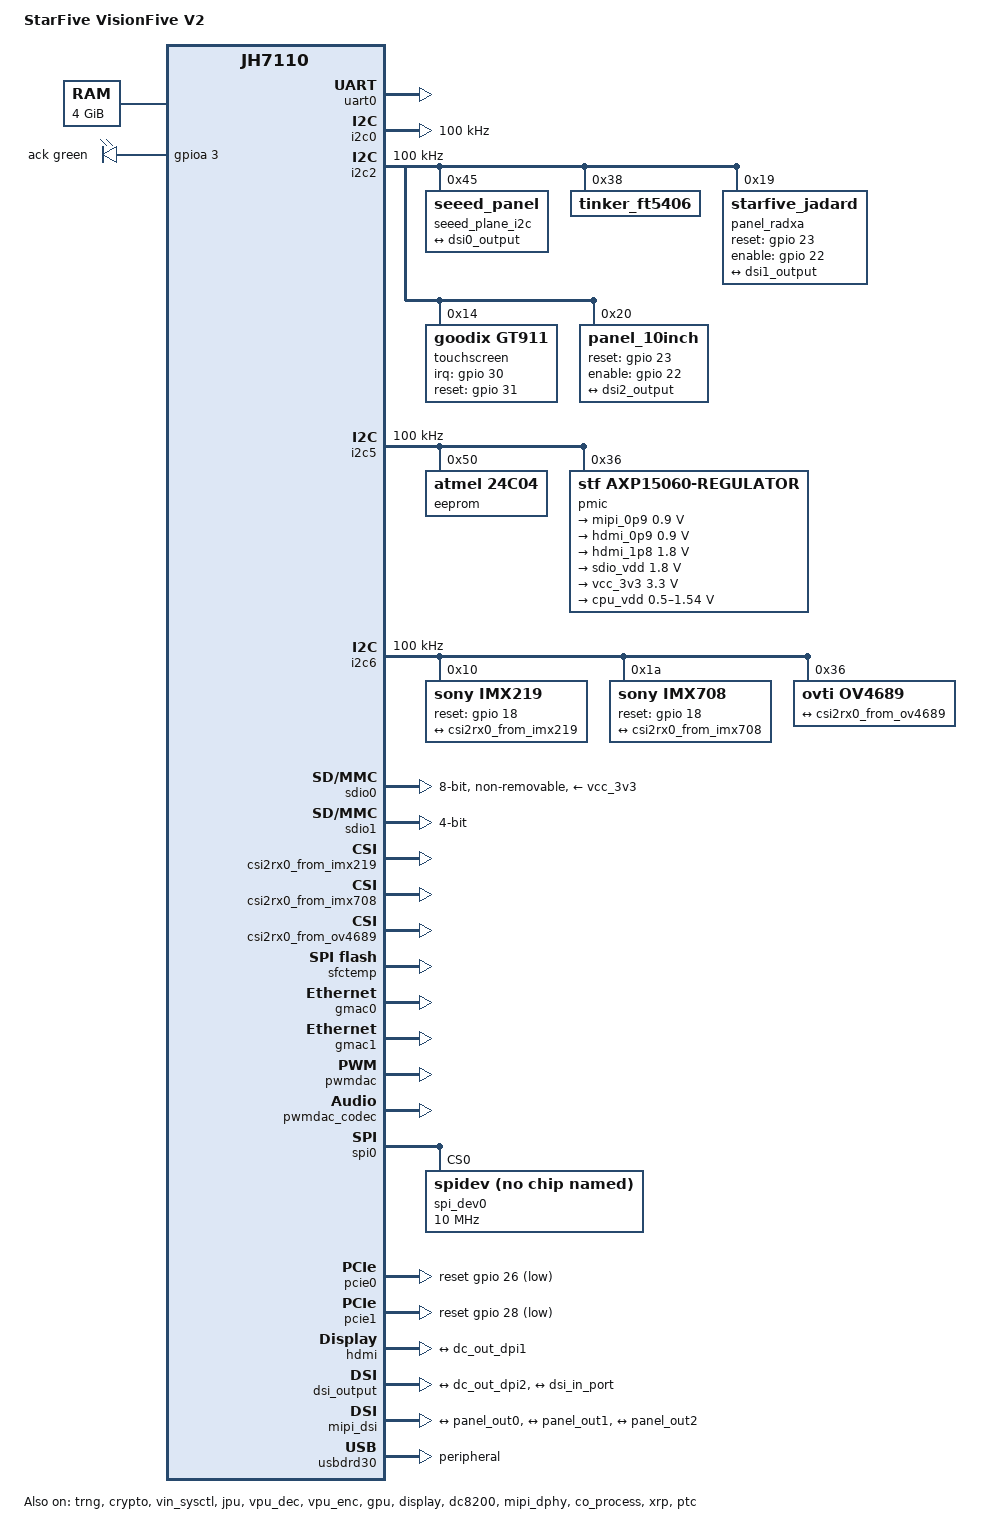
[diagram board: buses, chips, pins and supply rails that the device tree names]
// SPDX-License-Identifier: GPL-2.0 OR MIT
/*
 * Copyright (C) 2022 StarFive Technology Co., Ltd.
 * Copyright (C) 2022 Hal Feng <hal.feng@starfivetech.com>
 */

/dts-v1/;
#include <dt-bindings/gpio/gpio.h>
#include <dt-bindings/leds/common.h>
#include <dt-bindings/pinctrl/starfive,jh7110-pinfunc.h>
#include "jh7110.dtsi"
#include "codecs/sf_pwmdac.dtsi"

/ {
	model = "StarFive VisionFive V2";
	compatible = "starfive,visionfive-v2", "starfive,jh7110";

	aliases {
		spi0 = &qspi;
		gpio0 = &gpio;
		ethernet0 = &gmac0;
		ethernet1 = &gmac1;
		mmc0 = &sdio0;
		mmc1 = &sdio1;
		serial0 = &uart0;
		serial3 = &uart3;
		i2c0 = &i2c0;
		i2c1 = &i2c1;
		i2c2 = &i2c2;
		i2c3 = &i2c3;
		i2c4 = &i2c4;
		i2c5 = &i2c5;
		i2c6 = &i2c6;
	};

	chosen {
		linux,initrd-start = <0x0 0x46100000>;
		linux,initrd-end = <0x0 0x4c000000>;
		stdout-path = "serial0:115200";
		#bootargs = "debug console=ttyS0 rootwait";
	};

	cpus {
		timebase-frequency = <4000000>;
	};

	memory@40000000 {
		device_type = "memory";
		reg = <0x0 0x40000000 0x1 0x0>;
	};

	reserved-memory {
		#address-cells = <2>;
		#size-cells = <2>;
		ranges;

		linux,cma {
			compatible = "shared-dma-pool";
			reusable;
			size = <0x0 0x20000000>;
			alignment = <0x0 0x1000>;
			alloc-ranges = <0x0 0x70000000 0x0 0x20000000>;
			linux,cma-default;
		};

		e24_mem: e24@c0000000 {
			no-map;
			reg = <0x0 0xc0110000 0x0 0xf0000>;
		};

		xrp_reserved: xrpbuffer@f0000000 {
			reg = <0x0 0xf0000000 0x0 0x01ffffff
				0x0 0xf2000000 0x0 0x00001000
				0x0 0xf2001000 0x0 0x00fff000
				0x0 0xf3000000 0x0 0x00001000>;
		};

	};

	leds {
		compatible = "gpio-leds";

		led-ack {
			gpios = <&gpioa 3 GPIO_ACTIVE_HIGH>;
			color = <LED_COLOR_ID_GREEN>;
			function = LED_FUNCTION_HEARTBEAT;
			linux,default-trigger = "heartbeat";
			label = "ack";
		};
	};
};

&gpio {
	i2c0_pins: i2c0-pins {
		i2c0-pins-scl {
			starfive,pins = <PAD_GPIO57>;
			starfive,pinmux = <PAD_GPIO57_FUNC_SEL 0>;
			starfive,pin-ioconfig = <IO(GPIO_IE(1) | (GPIO_PU(1)))>;
			starfive,pin-gpio-dout = <GPO_LOW>;
			starfive,pin-gpio-doen = <OEN_I2C0_IC_CLK_OE>;
			starfive,pin-gpio-din =  <GPI_I2C0_IC_CLK_IN_A>;
		};

		i2c0-pins-sda {
			starfive,pins = <PAD_GPIO58>;
			starfive,pinmux = <PAD_GPIO58_FUNC_SEL 0>;
			starfive,pin-ioconfig = <IO(GPIO_IE(1) | (GPIO_PU(1)))>;
			starfive,pin-gpio-dout = <GPO_LOW>;
			starfive,pin-gpio-doen = <OEN_I2C0_IC_DATA_OE>;
			starfive,pin-gpio-din =  <GPI_I2C0_IC_DATA_IN_A>;
		};
	};

	i2c5_pins: i2c5-pins {
		i2c5-pins-scl {
			starfive,pins = <PAD_GPIO19>;
			starfive,pinmux = <PAD_GPIO19_FUNC_SEL 0>;
			starfive,pin-ioconfig = <IO(GPIO_IE(1) | (GPIO_PU(1)))>;
			starfive,pin-gpio-dout = <GPO_LOW>;
			starfive,pin-gpio-doen = <OEN_I2C5_IC_CLK_OE>;
			starfive,pin-gpio-din =  <GPI_I2C5_IC_CLK_IN_A>;
		};

		i2c5-pins-sda {
			starfive,pins = <PAD_GPIO20>;
			starfive,pinmux = <PAD_GPIO20_FUNC_SEL 0>;
			starfive,pin-ioconfig = <IO(GPIO_IE(1) | (GPIO_PU(1)))>;
			starfive,pin-gpio-dout = <GPO_LOW>;
			starfive,pin-gpio-doen = <OEN_I2C5_IC_DATA_OE>;
			starfive,pin-gpio-din =  <GPI_I2C5_IC_DATA_IN_A>;
		};
	};

	i2c6_pins: i2c6-pins {
		i2c6-pins-scl {
			starfive,pins = <PAD_GPIO16>;
			starfive,pinmux = <PAD_GPIO16_FUNC_SEL 0>;
			starfive,pin-ioconfig = <IO(GPIO_IE(1) | (GPIO_PU(1)))>;
			starfive,pin-gpio-dout = <GPO_LOW>;
			starfive,pin-gpio-doen = <OEN_I2C6_IC_CLK_OE>;
			starfive,pin-gpio-din =  <GPI_I2C6_IC_CLK_IN_A>;
		};

		i2c6-pins-sda {
			starfive,pins = <PAD_GPIO17>;
			starfive,pinmux = <PAD_GPIO17_FUNC_SEL 0>;
			starfive,pin-ioconfig = <IO(GPIO_IE(1) | (GPIO_PU(1)))>;
			starfive,pin-gpio-dout = <GPO_LOW>;
			starfive,pin-gpio-doen = <OEN_I2C6_IC_DATA_OE>;
			starfive,pin-gpio-din =  <GPI_I2C6_IC_DATA_IN_A>;
		};
	};

	pwmdac0_pins: pwmdac0-pins {
		pwmdac0-pins-left {
			starfive,pins = <PAD_GPIO33>;
			starfive,pinmux = <PAD_GPIO33_FUNC_SEL 0>;
			starfive,pin-ioconfig = <IO(GPIO_IE(1) | (GPIO_PU(1)))>;
			starfive,pin-gpio-dout = <GPO_PWMDAC0_LEFT_OUTPUT>;
			starfive,pin-gpio-doen = <OEN_LOW>;
		};

		pwmdac0-pins-right {
			starfive,pins = <PAD_GPIO34>;
			starfive,pinmux = <PAD_GPIO34_FUNC_SEL 0>;
			starfive,pin-ioconfig = <IO(GPIO_IE(1) | (GPIO_PU(1)))>;
			starfive,pin-gpio-dout = <GPO_PWMDAC0_RIGHT_OUTPUT>;
			starfive,pin-gpio-doen = <OEN_LOW>;
		};
	};

	pwm_pins: pwm-pins {
		pwm_ch0-pins {
			starfive,pins = <PAD_GPIO46>;
			starfive,pinmux = <PAD_GPIO46_FUNC_SEL 0>;
			starfive,pin-ioconfig = <IO(GPIO_IE(1))>;
			starfive,pin-gpio-dout = <GPO_PTC0_PWM_0>;
			starfive,pin-gpio-doen = <OEN_PTC0_PWM_0_OE_N>;
		};

		pwm_ch1-pins {
			starfive,pins = <PAD_GPIO59>;
			starfive,pinmux = <PAD_GPIO59_FUNC_SEL 0>;
			starfive,pin-ioconfig = <IO(GPIO_IE(1))>;
			starfive,pin-gpio-dout = <GPO_PTC0_PWM_1>;
			starfive,pin-gpio-doen = <OEN_PTC0_PWM_1_OE_N>;
		};
	};

	ssp0_pins: ssp0-pins {
		ssp0-pins_tx {
			starfive,pins = <PAD_GPIO52>;
			starfive,pinmux = <PAD_GPIO52_FUNC_SEL 0>;
			starfive,pin-ioconfig = <IO(GPIO_IE(1))>;
			starfive,pin-gpio-dout = <GPO_SPI0_SSPTXD>;
			starfive,pin-gpio-doen = <OEN_LOW>;
		};

		ssp0-pins_rx {
			starfive,pins = <PAD_GPIO53>;
			starfive,pinmux = <PAD_GPIO53_FUNC_SEL 0>;
			starfive,pin-ioconfig = <IO(GPIO_IE(1))>;
			starfive,pin-gpio-doen = <OEN_HIGH>;
			starfive,pin-gpio-din =  <GPI_SPI0_SSPRXD>;
		};

		ssp0-pins_clk {
			starfive,pins = <PAD_GPIO48>;
			starfive,pinmux = <PAD_GPIO48_FUNC_SEL 0>;
			starfive,pin-ioconfig = <IO(GPIO_IE(1))>;
			starfive,pin-gpio-dout = <GPO_SPI0_SSPCLKOUT>;
			starfive,pin-gpio-doen = <OEN_LOW>;
		};

		ssp0-pins_cs {
			starfive,pins = <PAD_GPIO49>;
			starfive,pinmux = <PAD_GPIO49_FUNC_SEL 0>;
			starfive,pin-ioconfig = <IO(GPIO_IE(1))>;
			starfive,pin-gpio-dout = <GPO_SPI0_SSPFSSOUT>;
			starfive,pin-gpio-doen = <OEN_LOW>;
		};
	};

	pcie0_perst_default: pcie0_perst_default {
		perst-pins {
			starfive,pins = <PAD_GPIO26>;
			starfive,pinmux = <PAD_GPIO26_FUNC_SEL 0>;
			starfive,pin-ioconfig = <IO(GPIO_IE(1))>;
			starfive,pin-gpio-dout = <GPO_HIGH>;
			starfive,pin-gpio-doen = <OEN_LOW>;
		};
	};

	pcie0_perst_active: pcie0_perst_active {
		perst-pins {
			starfive,pins = <PAD_GPIO26>;
			starfive,pinmux = <PAD_GPIO26_FUNC_SEL 0>;
			starfive,pin-ioconfig = <IO(GPIO_IE(1))>;
			starfive,pin-gpio-dout = <GPO_LOW>;
			starfive,pin-gpio-doen = <OEN_LOW>;
		};
	};

	pcie0_wake_default: pcie0_wake_default {
		wake-pins {
			starfive,pins = <PAD_GPIO32>;
			starfive,pinmux = <PAD_GPIO32_FUNC_SEL 0>;
			starfive,pin-ioconfig = <IO(GPIO_IE(1))>;
			starfive,pin-gpio-doen = <OEN_HIGH>;
		};
	};

	pcie0_clkreq_default: pcie0_clkreq_default {
		clkreq-pins {
			starfive,pins = <PAD_GPIO27>;
			starfive,pinmux = <PAD_GPIO27_FUNC_SEL 0>;
			starfive,pin-ioconfig = <IO(GPIO_IE(1))>;
			starfive,pin-gpio-doen = <OEN_HIGH>;
		};
	};

	pcie1_perst_default: pcie1_perst_default {
		perst-pins {
			starfive,pins = <PAD_GPIO28>;
			starfive,pinmux = <PAD_GPIO28_FUNC_SEL 0>;
			starfive,pin-ioconfig = <IO(GPIO_IE(1))>;
			starfive,pin-gpio-dout = <GPO_HIGH>;
			starfive,pin-gpio-doen = <OEN_LOW>;
		};
	};

	pcie1_perst_active: pcie1_perst_active {
		perst-pins {
			starfive,pins = <PAD_GPIO28>;
			starfive,pinmux = <PAD_GPIO28_FUNC_SEL 0>;
			starfive,pin-ioconfig = <IO(GPIO_IE(1))>;
			starfive,pin-gpio-dout = <GPO_LOW>;
			starfive,pin-gpio-doen = <OEN_LOW>;
		};
	};

	pcie1_wake_default: pcie1_wake_default {
		wake-pins {
			starfive,pins = <PAD_GPIO21>;
			starfive,pinmux = <PAD_GPIO21_FUNC_SEL 0>;
			starfive,pin-ioconfig = <IO(GPIO_IE(1))>;
			starfive,pin-gpio-doen = <OEN_HIGH>;
		};
	};

	pcie1_clkreq_default: pcie1_clkreq_default {
		clkreq-pins {
			starfive,pins = <PAD_GPIO29>;
			starfive,pinmux = <PAD_GPIO29_FUNC_SEL 0>;
			starfive,pin-ioconfig = <IO(GPIO_IE(1))>;
			starfive,pin-gpio-doen = <OEN_HIGH>;
		};
	};

	usb_pins: usb-pins {
		drive-vbus-pin {
			starfive,pins = <PAD_GPIO25>;
			starfive,pinmux = <PAD_GPIO25_FUNC_SEL 0>;
			starfive,pin-ioconfig = <IO(GPIO_IE(1))>;
			starfive,pin-gpio-dout = <GPO_USB0_DRIVE_VBUS_IO>;
			starfive,pin-gpio-doen = <OEN_LOW>;
		};
	};

	i2srx_pins: i2srx-pins {
		i2srx-pins0 {
			starfive,pins = <PAD_GPIO61>;
			starfive,pinmux = <PAD_GPIO61_FUNC_SEL 0>;
			starfive,pin-ioconfig = <IO(GPIO_IE(1))>;
			starfive,pin-gpio-doen = <OEN_HIGH>;
			starfive,pin-gpio-din =  <GPI_I2SRX0_EXT_SDIN0>;
		};
	};

	i2s_clk_pins: i2s-clk0 {
		i2s-clk0_bclk {
			starfive,pins = <PAD_GPIO38>;
			starfive,pinmux = <PAD_GPIO38_FUNC_SEL 0>;
			starfive,pin-ioconfig = <IO(GPIO_IE(1))>;
			starfive,pin-gpio-din = <GPI_I2STX0_BCLK_SLV GPI_I2SRX0_BCLK_SLV>;
			starfive,pin-gpio-doen = <OEN_HIGH>;
		};

		i2s-clk0_lrclk {
			starfive,pins = <PAD_GPIO63>;
			starfive,pinmux = <PAD_GPIO63_FUNC_SEL 0>;
			starfive,pin-ioconfig = <IO(GPIO_IE(1))>;
			starfive,pin-gpio-din = <GPI_I2STX0_LRCK_SLV GPI_I2SRX0_LRCK_SLV>;
			starfive,pin-gpio-doen = <OEN_HIGH>;
		};
	};

	i2stx_pins: i2stx-pins {
		i2stx-pins0 {
			starfive,pins = <PAD_GPIO44>;
			starfive,pinmux = <PAD_GPIO44_FUNC_SEL 0>;
			starfive,pin-ioconfig = <IO(GPIO_IE(1))>;
			starfive,pin-gpio-dout = <GPO_I2STX_4CH1_SDO0>;
			starfive,pin-gpio-doen = <OEN_LOW>;
		};
	};
};

&uart0 {
	status = "okay";
};

&dma {
	status = "okay";
};

&trng {
	status = "okay";
};

&crypto {
	status = "okay";
};

&sec_dma {
	status = "okay";
};

&i2c0 {
	clock-frequency = <100000>;
	i2c-sda-hold-time-ns = <300>;
	i2c-sda-falling-time-ns = <510>;
	i2c-scl-falling-time-ns = <510>;
	auto_calc_scl_lhcnt;
	pinctrl-names = "default";
	pinctrl-0 = <&i2c0_pins>;
	status = "okay";
};

&i2c2 {
	clock-frequency = <100000>;
	i2c-sda-hold-time-ns = <300>;
	i2c-sda-falling-time-ns = <510>;
	i2c-scl-falling-time-ns = <510>;
	auto_calc_scl_lhcnt;
	status = "okay";

	seeed_plane_i2c@45 {
		compatible = "seeed_panel";
		reg = <0x45>;

		port {
			panel_out0: endpoint {
				remote-endpoint = <&dsi0_output>;
			};
		};
	};

	tinker_ft5406: tinker_ft5406@38 {
		compatible = "tinker_ft5406";
		reg = <0x38>;
	};

	panel_radxa@19 {
		compatible ="starfive_jadard";
		reg = <0x19>;
		reset-gpio = <&gpio 23 0>;
		enable-gpio = <&gpio 22 0>;

		port {
			panel_out1: endpoint {
				remote-endpoint = <&dsi1_output>;
				};
		};
	};

	touchscreen@14 {
		compatible = "goodix,gt911";
		reg = <0x14>;
		irq-gpios = <&gpio 30 GPIO_ACTIVE_HIGH>;
		reset-gpios = <&gpio 31 GPIO_ACTIVE_HIGH>;
	};


	panel_10inch@20 {
		compatible ="panel_10inch";
		reg = <0x20>;
		reset-gpio = <&gpio 23 0>;
		enable-gpio = <&gpio 22 0>;

		port {
			panel_out2: endpoint {
				remote-endpoint = <&dsi2_output>;
			};
		};
	};
};

&i2c5 {
	clock-frequency = <100000>;
	i2c-sda-hold-time-ns = <300>;
	i2c-sda-falling-time-ns = <510>;
	i2c-scl-falling-time-ns = <510>;
	auto_calc_scl_lhcnt;
	pinctrl-names = "default";
	pinctrl-0 = <&i2c5_pins>;
	status = "okay";

	eeprom@50 {
		compatible = "atmel,24c04";
		reg = <0x50>;
		pagesize = <16>;
	};

	pmic: axp15060_reg@36 {
		compatible = "stf,axp15060-regulator";
		reg = <0x36>;

		regulators {
			mipi_0p9: ALDO1 {
				regulator-boot-on;
				regulator-compatible = "mipi_0p9";
				regulator-name = "mipi_0p9";
				regulator-min-microvolt = <900000>;
				regulator-max-microvolt = <900000>;
			};
			hdmi_0p9: ALDO5 {
				regulator-boot-on;
				regulator-compatible = "hdmi_0p9";
				regulator-name = "hdmi_0p9";
				regulator-min-microvolt = <900000>;
				regulator-max-microvolt = <900000>;
			};
			hdmi_1p8: ALDO3 {
				regulator-boot-on;
				regulator-compatible = "hdmi_1p8";
				regulator-name = "hdmi_1p8";
				regulator-min-microvolt = <1800000>;
				regulator-max-microvolt = <1800000>;
			};
			sdio_vdd: ALDO4 {
				regulator-boot-on;
				regulator-always-on;
				regulator-compatible = "sdio_vdd";
				regulator-name = "sdio_vdd";
				regulator-min-microvolt = <1800000>;
				regulator-max-microvolt = <1800000>;
			};
			vcc_3v3: DCDC1 {
				regulator-boot-on;
				regulator-always-on;
				regulator-compatible = "vcc_3v3";
				regulator-name = "vcc_3v3";
				regulator-min-microvolt = <3300000>;
				regulator-max-microvolt = <3300000>;
			};
			cpu_vdd: DCDC2 {
				regulator-boot-on;
				regulator-always-on;
				regulator-compatible = "cpu_vdd";
				regulator-name = "cpu_vdd";
				regulator-min-microvolt = <500000>;
				regulator-max-microvolt = <1540000>;
			};
		};
	};
};

&i2c6 {
	clock-frequency = <100000>;
	i2c-sda-hold-time-ns = <300>;
	i2c-sda-falling-time-ns = <510>;
	i2c-scl-falling-time-ns = <510>;
	auto_calc_scl_lhcnt;
	pinctrl-names = "default";
	pinctrl-0 = <&i2c6_pins>;
	status = "okay";

	imx219: imx219@10 {
		compatible = "sony,imx219";
		reg = <0x10>;
		clocks = <&clk_ext_camera>;
		clock-names = "xclk";
		reset-gpio = <&gpio 18 0>;
		//DOVDD-supply = <&v2v8>;
		rotation = <0>;
		orientation = <1>; //CAMERA_ORIENTATION_BACK

		port {
			/* CSI2 bus endpoint */
			imx219_to_csi2rx0: endpoint {
				remote-endpoint = <&csi2rx0_from_imx219>;
				bus-type = <4>;      /* MIPI CSI-2 D-PHY */
				clock-lanes = <4>;
				data-lanes = <0 1>;
				lane-polarities = <0 0 0>;
				link-frequencies = /bits/ 64 <456000000>;
			};
		};
	};

	imx708: imx708@1a {
		compatible = "sony,imx708";
		reg = <0x1a>;
		clocks = <&clk_ext_camera>;
		reset-gpio = <&gpio 18 0>;

		port {
			imx708_to_csi2rx0: endpoint {
				remote-endpoint = <&csi2rx0_from_imx708>;
				data-lanes = <1 2>;
				clock-noncontinuous;
				link-frequencies = /bits/ 64 <450000000>;
			};
		};
	};

	ov4689: ov4689@36 {
		compatible = "ovti,ov4689";
		reg = <0x36>;
		clocks = <&clk_ext_camera>;
		clock-names = "xclk";
		//reset-gpio = <&gpio 18 0>;
		rotation = <180>;

		port {
			/* Parallel bus endpoint */
			ov4689_to_csi2rx0: endpoint {
				remote-endpoint = <&csi2rx0_from_ov4689>;
				bus-type = <4>;		/* MIPI CSI-2 D-PHY */
				clock-lanes = <0>;
				data-lanes = <1 2>;
			};
		};
	};
};

&sdio0 {
	max-frequency = <100000000>;
	card-detect-delay = <300>;
	bus-width = <8>;
	cap-mmc-highspeed;
	non-removable;
	cap-mmc-hw-reset;
	post-power-on-delay-ms = <200>;
	vmmc-supply = <&vcc_3v3>;
	vqmmc-supply = <&sdio_vdd>;
	status = "okay";
};

&sdio1 {
	max-frequency = <100000000>;
	card-detect-delay = <300>;
	bus-width = <4>;
	no-sdio;
	no-mmc;
	broken-cd;
	cap-sd-highspeed;
	post-power-on-delay-ms = <200>;
	status = "okay";
};

&vin_sysctl {
	/* when use dvp open this pinctrl*/
	status = "okay";

	ports {
		#address-cells = <1>;
		#size-cells = <0>;

		port@1 {
			reg = <1>;
			#address-cells = <1>;
			#size-cells = <0>;

			/* CSI2 bus endpoint */
			csi2rx0_from_imx219: endpoint@0 {
				reg = <0>;
				remote-endpoint = <&imx219_to_csi2rx0>;
				bus-type = <4>;      /* MIPI CSI-2 D-PHY */
				clock-lanes = <4>;
				data-lanes = <0 1>;
				lane-polarities = <0 0 0>;
				status = "okay";
			};

			csi2rx0_from_imx708: endpoint@1 {
				reg = <1>;
				remote-endpoint = <&imx708_to_csi2rx0>;
				bus-type = <4>;      /* MIPI CSI-2 D-PHY */
				clock-lanes = <4>;
				data-lanes = <0 1>;
				lane-polarities = <0 0 0>;
				status = "okay";
			};

			csi2rx0_from_ov4689: endpoint@2 {
				reg = <2>;
				remote-endpoint = <&ov4689_to_csi2rx0>;
				bus-type = <4>;      /* MIPI CSI-2 D-PHY */
				clock-lanes = <4>;
				data-lanes = <0 1>;
				status = "okay";
			};
		};
	};
};

&sfctemp {
	status = "okay";
};

&jpu {
	status = "okay";
};

&vpu_dec {
	status = "okay";
};

&vpu_enc {
	status = "okay";
};

&gmac0 {
	status = "okay";
	#address-cells = <1>;
	#size-cells = <0>;
	phy0: ethernet-phy@0 {
		rgmii_sw_dr_2 = <0x0>;
		rgmii_sw_dr = <0x3>;
		rgmii_sw_dr_rxc = <0x6>;
		rxc_dly_en = <0>;
		rx_delay_sel = <0xa>;
		tx_delay_sel_fe = <5>;
		tx_delay_sel = <0xa>;
		tx_inverted_10 = <0x1>;
		tx_inverted_100 = <0x1>;
		tx_inverted_1000 = <0x1>;
	};
};

&gmac1 {
	#address-cells = <1>;
	#size-cells = <0>;
	status = "okay";
	phy1: ethernet-phy@1 {
		rgmii_sw_dr_2 = <0x0>;
		rgmii_sw_dr = <0x3>;
		rgmii_sw_dr_rxc = <0x6>;
		tx_delay_sel_fe = <5>;
		tx_delay_sel = <0>;
		rxc_dly_en = <0>;
		rx_delay_sel = <0x2>;
		tx_inverted_10 = <0x1>;
		tx_inverted_100 = <0x1>;
		tx_inverted_1000 = <0x0>;
	};
};

&gpu {
	status = "okay";
};

&pwmdac {
	pinctrl-names = "default";
	pinctrl-0 = <&pwmdac0_pins>;
	status = "okay";
};

&i2srx_3ch {
	pinctrl-names = "default";
	pinctrl-0 = <&i2s_clk_pins &i2srx_pins>;
	status = "disabled";
};

&i2stx_4ch1 {
	pinctrl-names = "default";
	pinctrl-0 = <&i2stx_pins>;
	status = "disabled";
};

&pwmdac_codec {
	status = "okay";
};

&spi0 {
	pinctrl-names = "default";
	pinctrl-0 = <&ssp0_pins>;
	status = "okay";

	spi_dev0: spi@0 {
		compatible = "rohm,dh2228fv";
		pl022,com-mode = <1>;
		spi-max-frequency = <10000000>;
		reg = <0>;
		status = "okay";
	};
};

&pcie0 {
	pinctrl-names = "default";
	pinctrl-0 = <&pcie0_wake_default>,
		    <&pcie0_clkreq_default>;
	reset-gpios = <&gpio 26 GPIO_ACTIVE_LOW>;
	status = "okay";
};

&pcie1 {
	pinctrl-names = "default";
	pinctrl-0 = <&pcie1_wake_default>,
		    <&pcie1_clkreq_default>;
	reset-gpios = <&gpio 28 GPIO_ACTIVE_LOW>;
	status = "okay";
};

&mailbox_contrl0 {
	status = "okay";
};

&mailbox_client0 {
	status = "okay";
};

&display {
	status = "okay";
};

&hdmi {
	status = "okay";

	hdmi_in: port {
		#address-cells = <1>;
		#size-cells = <0>;
		hdmi_in_lcdc: endpoint@0 {
			reg = <0>;
			remote-endpoint = <&dc_out_dpi1>;
		};
	};
};

&dc8200 {
	status = "okay";

	dc_out: port {
		#address-cells = <1>;
		#size-cells = <0>;
		dc_out_dpi0: endpoint@0 {
			reg = <0>;
			remote-endpoint = <&hdmi_input0>;
		};
		dc_out_dpi1: endpoint@1 {
			reg = <1>;
			remote-endpoint = <&hdmi_in_lcdc>;
		};

		dc_out_dpi2: endpoint@2 {
			reg = <2>;
			remote-endpoint = <&mipi_in>;
		};
	};
};

&rgb_output {
	status = "disabled";

	ports {
		#address-cells = <1>;
		#size-cells = <0>;
		port@0 {
			#address-cells = <1>;
			#size-cells = <0>;
			reg = <0>;
			hdmi_input0:endpoint@0 {
				reg = <0>;
				remote-endpoint = <&dc_out_dpi0>;
			};
		};
	};
};

&dsi_output {
	status = "okay";

	ports {
		#address-cells = <1>;
		#size-cells = <0>;

		port@0 {
			reg = <0>;
			mipi_in: endpoint {
				remote-endpoint = <&dc_out_dpi2>;
			};
		};

		port@1 {
			reg = <1>;
			sf_dpi_output: endpoint {
				remote-endpoint = <&dsi_in_port>;
			};
		};
	};
};

&mipi_dsi {
	status = "okay";

	ports {
		#address-cells = <1>;
		#size-cells = <0>;

		port@0 {
			reg = <0>;
			#address-cells = <1>;
			#size-cells = <0>;

			dsi0_output: endpoint@0 {
				reg = <0>;
				remote-endpoint = <&panel_out0>;
			};

			dsi1_output: endpoint@1 {
				reg = <1>;
				remote-endpoint = <&panel_out1>;
			};
			dsi2_output: endpoint@2 {
				reg = <2>;
				remote-endpoint = <&panel_out2>;
			};
		};

		port@1{
			reg = <1>;
			dsi_in_port: endpoint {
				remote-endpoint = <&sf_dpi_output>;
			};
		};

	};
};

&mipi_dphy {
	status = "okay";
};

&co_process {
	status = "okay";
};

&usbdrd30 {
	clocks = <&clkgen JH7110_USB_125M>,
		 <&clkgen JH7110_USB0_CLK_APP_125>,
		 <&clkgen JH7110_USB0_CLK_LPM>,
		 <&clkgen JH7110_USB0_CLK_STB>,
		 <&clkgen JH7110_USB0_CLK_USB_APB>,
		 <&clkgen JH7110_USB0_CLK_AXI>,
		 <&clkgen JH7110_USB0_CLK_UTMI_APB>;
	clock-names = "125m","app","lpm","stb","apb","axi","utmi";
	resets = <&rstgen RSTN_U0_CDN_USB_PWRUP>,
		 <&rstgen RSTN_U0_CDN_USB_APB>,
		 <&rstgen RSTN_U0_CDN_USB_AXI>,
		 <&rstgen RSTN_U0_CDN_USB_UTMI_APB>;
	reset-names = "pwrup","apb","axi","utmi";
	starfive,usb2-only;
	dr_mode = "peripheral"; /*host or peripheral*/
	status = "okay";
};

&xrp {
	status = "okay";
};

&ptc {
	pinctrl-names = "default";
	pinctrl-0 = <&pwm_pins>;
	status = "okay";
};
